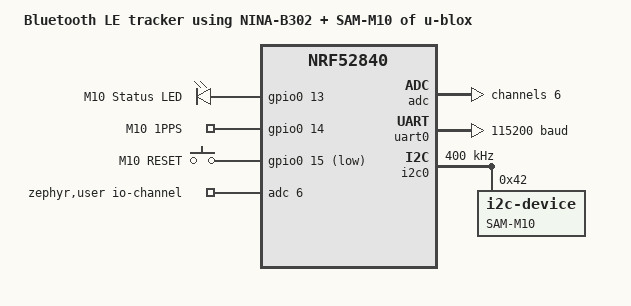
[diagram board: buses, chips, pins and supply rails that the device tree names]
/dts-v1/;
#include <nordic/nrf52840_qiaa.dtsi>
#include <nordic/nrf52840_partition.dtsi>
#include "BLETracker-pinctrl.dtsi"

/ {
	model = "Bluetooth LE tracker using NINA-B302 + SAM-M10 of u-blox";
	compatible = "IMYTH,BLETracker";
	leds {
        compatible = "gpio-leds";
        m10_led: led_0 {
            gpios = <&gpio0 13 GPIO_ACTIVE_HIGH>;
            label = "M10 Status LED";
        };
    };

    m10_control {
        compatible = "gpio-keys";
        m10_pps: pps {
            gpios = <&gpio0 14 GPIO_ACTIVE_HIGH>;
            label = "M10 1PPS";
        };
        m10_reset: reset {
            gpios = <&gpio0 15 GPIO_ACTIVE_LOW>;
            label = "M10 RESET";
        };
    };
	zephyr,user {
		io-channels = <&adc 6>;
	};
};

&reg1 {
	regulator-initial-mode = <NRF5X_REG_MODE_DCDC>;
};


&gpiote {
	status = "okay";
};

&gpio0 {
	status = "okay";
};

/*  UART_RX on P1.13 */
&gpio1 {
    status = "okay";
};

/* ADC ：P0.30 @ AIN6 */
&adc {
    #address-cells = <1>;
    #size-cells = <0>;
	status = "okay";
    channel@6 {
        reg = <6>;
        zephyr,gain = "ADC_GAIN_1_6";
        zephyr,reference = "ADC_REF_INTERNAL";
        zephyr,acquisition-time = <ADC_ACQ_TIME_DEFAULT>;
        zephyr,input-positive = <NRF_SAADC_AIN6>; /* P0.30 */
		zephyr,resolution = <12>;
    };
};


&uart0 {
	compatible = "nordic,nrf-uarte";
	status = "okay";
	current-speed = <115200>;
	pinctrl-0 = <&uart0_default>;
	pinctrl-1 = <&uart0_sleep>;
	pinctrl-names = "default", "sleep";
};

&i2c0 {
	compatible = "nordic,nrf-twi";
	status = "okay";
	pinctrl-0 = <&i2c0_default>;
	pinctrl-1 = <&i2c0_sleep>;
	pinctrl-names = "default", "sleep";

	gnss: sam-m10@42 {
        compatible = "i2c-device";
        reg = <0x42>;
        label = "SAM-M10";
    };

	clock-frequency = <I2C_BITRATE_FAST>;
};

